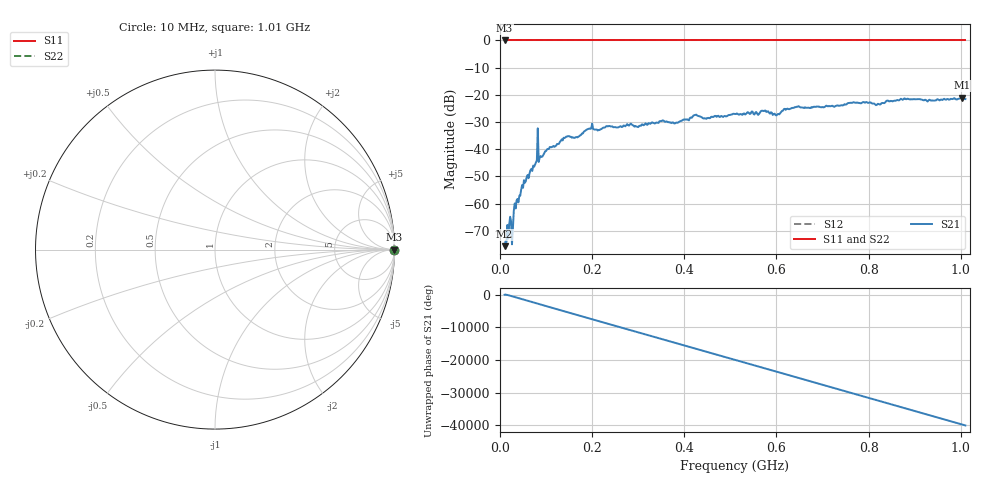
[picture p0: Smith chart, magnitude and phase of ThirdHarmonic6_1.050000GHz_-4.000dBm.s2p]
! 8/16/2025 9:15:19 AM
! C:\ANRITSUVNA\TEMP\TEMP.S2P
! CHANNEL.1
! TR.MEASUREMENT
! RAW.DATA
! RF.CORRECTION.OFF
! AVERAGING.OFF
! IF.BANDWIDTH: 5KHZ
! SWEEPTYPE:  FREQ.SWEEP(Linear)
! Reference Plane Port Info
! PORT:  PORT1  PORT2
! DISTANCE:  0  m  0  m
! TIME:  0  s  0  s
! PHASE.OFFSET:  0  deg.  0  deg.
! LOSS:  0  dB  0  dB
! REF.LOSS:  0  dB  0  dB
! REF.FREQ:  0  Hz  0  Hz
! Power Info
! POWER:  -20  dBm  -20  dBm
! EFF.POWER:  -20  dBm  -20  dBm
! SOURCE.ATTEN:  0  dB  0  dB
! TEST.ATTEN:  0  dB  0  dB
# GHZ S RI R 50.0
! FREQ.GHZ  S11RE  S11IM  S21RE  S21IM  S12RE  S12IM  S22RE  S22IM
!; PortSelection: Port_12
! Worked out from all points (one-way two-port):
!   501 points, 10 MHz to 1.01 GHz, reference 50 ohm
!   highest |S21| = -20.99 dB at 1.002 GHz (marker M1); lowest = -75.7 dB at 10 MHz (marker M2)
!   lowest |S11| = 0.0 dB at 10 MHz (marker M3)
!   |S11| at or under -10 dB: nowhere
!   |S22| runs from 0.0 to 0.0 dB; largest |S21 - S12| = 1.1
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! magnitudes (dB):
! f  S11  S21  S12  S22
! 10 MHz  0.0  -75.7  0.0  0.0
! 20 MHz  0.0  -67.6  0.0  0.0
! 22 MHz  0.0  -64.9  0.0  0.0
! 30 MHz  0.0  -62.5  0.0  0.0
! 34 MHz  0.0  -61.8  0.0  0.0
! 56 MHz  0.0  -51.7  0.0  0.0
! 76 MHz  0.0  -45.7  0.0  0.0
! 78 MHz  0.0  -44.8  0.0  0.0
! 86 MHz  0.0  -43.2  0.0  0.0
! 88 MHz  0.0  -42.5  0.0  0.0
! 142 MHz  0.0  -35.7  0.0  0.0
! 178 MHz  0.0  -34.2  0.0  0.0
! 196 MHz  0.0  -32.5  0.0  0.0
! 344 MHz  0.0  -30.3  0.0  0.0
! 510 MHz  0.0  -27.1  0.0  0.0
! 572 MHz  0.0  -26.0  0.0  0.0
! 602 MHz  0.0  -27.2  0.0  0.0
! 620 MHz  0.0  -25.5  0.0  0.0
! 678 MHz  0.0  -24.7  0.0  0.0
! 844 MHz  0.0  -22.4  0.0  0.0
! 1.002 GHz  0.0  -21.0  0.0  0.0
! 1.01 GHz  0.0  -21.5  0.0  0.0
